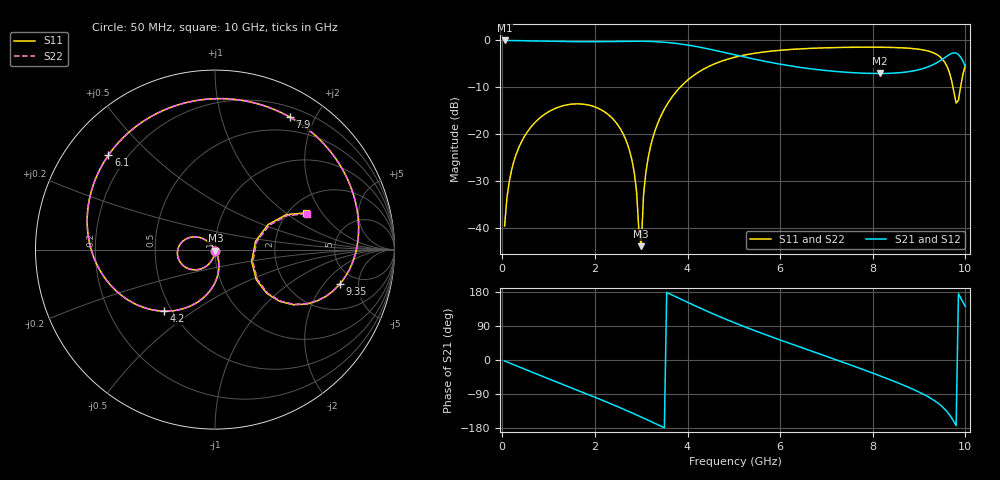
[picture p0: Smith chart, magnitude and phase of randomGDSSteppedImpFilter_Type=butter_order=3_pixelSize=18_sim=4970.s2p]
! freq	dB(S11)	phase(S11)	dB(S12)	phase(S12)
!  dB(S21)	phase(S21)	dB(S22)	phase(S22)
!S-par simulation data
#  GHz  S  DB  R 50
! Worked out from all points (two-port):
!   200 points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, 50 MHz to 10 GHz, reference 50 ohm
!   highest |S21| = 0.00 dB at 50 MHz (marker M1); lowest = -7.0 dB at 8.15 GHz (marker M2)
!   |S21| within 3 dB of the highest: start of sweep to 4.994 GHz; 9.657 GHz to 9.85 GHz (193.7 MHz wide, 1.99 % of centre)
!   lowest |S11| = -43.9 dB at 3 GHz (marker M3), VSWR 1.01, Z = 50.2 - j0.596 ohm
!   |S11| at or under -10 dB: start of sweep to 3.839 GHz; 9.732 GHz to 9.895 GHz (163.5 MHz wide, 1.67 % of centre)
!   |S22| runs from -43.7 to -1.4 dB; largest |S21 - S12| = 0
!   S11 on the Smith chart (normalised r, x): 50 MHz: 1.00, -0.02; 4.2 GHz: 0.45, -0.39; 6.1 GHz: 0.13, +0.37; 7.9 GHz: 0.32, +1.67; 9.35 GHz: 3.73, -2.98; 10 GHz: 2.46, +1.44
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0.05  -39.57 -92.8  -0.00 -2.5  -0.00 -2.5  -39.57 -92.8
0.2  -27.66 -101.0  -0.02 -10.1  -0.02 -10.1  -27.66 -101.0
0.5  -20.11 -116.1  -0.07 -25.0  -0.07 -25.0  -20.11 -116.1
1.75  -13.58 -177.0  -0.28 -86.0  -0.28 -86.0  -13.58 -176.9
2.65  -20.77 137.8  -0.17 -131.4  -0.17 -131.4  -20.77 138.2
2.85  -28.19 127.6  -0.16 -142.2  -0.16 -142.2  -28.18 128.5
3  -43.85 -67.5  -0.17 -150.5  -0.17 -150.5  -43.70 -74.0
3.05  -32.94 -65.9  -0.18 -153.2  -0.18 -153.2  -32.93 -67.7
3.1  -28.14 -68.0  -0.19 -156.1  -0.19 -156.1  -28.14 -69.1
3.4  -16.65 -84.4  -0.31 -173.1  -0.31 -173.1  -16.65 -84.7
4.2  -6.99 -129.9  -1.31 140.9  -1.31 140.9  -6.99 -130.0
5.05  -3.50 -174.0  -3.13 96.4  -3.13 96.4  -3.50 -174.0
6.1  -2.01 138.5  -5.23 48.4  -5.23 48.4  -2.01 138.5
6.7  -1.67 112.8  -6.09 22.5  -6.09 22.5  -1.67 112.8
7.9  -1.43 60.4  -7.01 -30.1  -7.01 -30.1  -1.43 60.4
8.15  -1.45 49.0  -7.04 -41.5  -7.04 -41.5  -1.45 49.0
8.35  -1.48 39.7  -7.01 -51.0  -7.01 -51.0  -1.48 39.7
8.9  -1.76 12.2  -6.45 -79.0  -6.45 -79.0  -1.76 12.2
9.35  -2.82 -15.3  -4.92 -108.7  -4.92 -108.7  -2.81 -15.1
9.6  -5.45 -35.1  -3.35 -135.9  -3.35 -135.9  -5.43 -34.8
9.8  -13.35 -17.9  -2.69 -173.3  -2.69 -173.3  -13.11 -17.6
10  -5.23 22.0  -5.58 141.6  -5.58 141.6  -5.20 21.3
